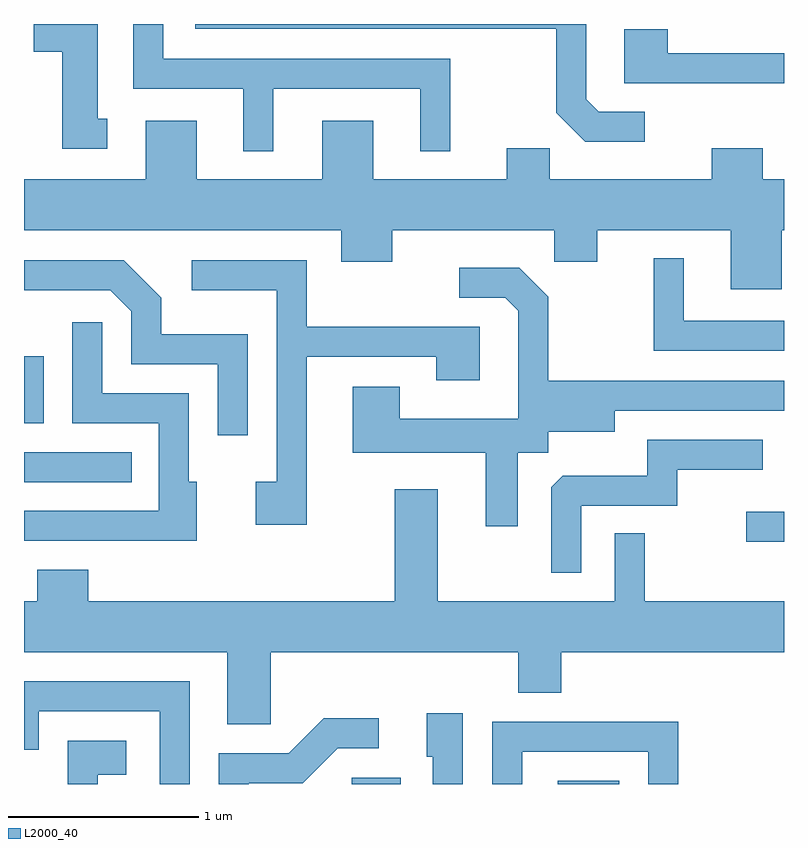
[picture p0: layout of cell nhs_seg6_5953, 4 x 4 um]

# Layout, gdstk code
import gdstk
lib = gdstk.Library(unit=1e-6, precision=1e-09)
def R(c, l, rs):  # rectangles x0, y0, x1, y1
    for r in rs: c.add(gdstk.rectangle(r[:2], r[2:], *l))
def P(c, l, *ps):  # polygons
    for p in ps: c.add(gdstk.Polygon(p, *l))
L2000_40 = (2000, 40)

nhs_seg6_5953 = lib.new_cell('nhs_seg6_5953')
R(nhs_seg6_5953, L2000_40, [(367.336,1618.162,367.594,1618.194), (368.421,1618.162,368.744,1618.179), (369.413,1619.436,369.611,1619.594), (365.611,1619.751,366.178,1619.909), (365.611,1620.061,365.714,1620.414)])
P(nhs_seg6_5953, L2000_40, [(366.048,1621.664),(365.999,1621.664),(365.999,1622.162),(365.661,1622.162),(365.661,1622.016),(365.811,1622.016),(365.811,1621.506),(366.048,1621.506)],
  [(366.924,1621.821),(367.696,1621.821),(367.696,1621.493),(367.854,1621.493),(367.854,1621.979),(366.344,1621.979),(366.344,1622.162),(366.186,1622.162),(366.186,1621.821),(366.766,1621.821),(366.766,1621.493),(366.924,1621.493)],
  [(368.878,1621.699),(368.637,1621.699),(368.569,1621.767),(368.569,1622.162),(366.511,1622.162),(366.511,1622.136),(368.411,1622.136),(368.411,1621.694),(368.564,1621.541),(368.878,1621.541)],
  [(369.611,1622.009),(368.999,1622.009),(368.999,1622.134),(368.771,1622.134),(368.771,1621.851),(369.611,1621.851)],
  [(367.181,1621.344),(366.519,1621.344),(366.519,1621.654),(366.251,1621.654),(366.251,1621.344),(365.611,1621.344),(365.611,1621.076),(367.281,1621.076),(367.281,1620.911),(367.549,1620.911),(367.549,1621.076),(368.401,1621.076),(368.401,1620.911),(368.629,1620.911),(368.629,1621.076),(369.331,1621.076),(369.331,1620.766),(369.599,1620.766),(369.599,1621.076),(369.611,1621.076),(369.611,1621.344),(369.499,1621.344),(369.499,1621.509),(369.231,1621.509),(369.231,1621.344),(368.379,1621.344),(368.379,1621.509),(368.151,1621.509),(368.151,1621.344),(367.449,1621.344),(367.449,1621.654),(367.181,1621.654)],
  [(369.611,1620.599),(369.084,1620.599),(369.084,1620.928),(368.926,1620.928),(368.926,1620.441),(369.611,1620.441)],
  [(367.099,1620.411),(367.781,1620.411),(367.781,1620.286),(368.009,1620.286),(368.009,1620.569),(367.099,1620.569),(367.099,1620.919),(366.493,1620.919),(366.493,1620.761),(366.941,1620.761),(366.941,1619.754),(366.831,1619.754),(366.831,1619.526),(367.099,1619.526)],
  [(366.789,1620.529),(366.334,1620.529),(366.334,1620.722),(366.137,1620.919),(365.611,1620.919),(365.611,1620.761),(366.064,1620.761),(366.176,1620.649),(366.176,1620.371),(366.631,1620.371),(366.631,1619.998),(366.789,1619.998)],
  [(368.209,1619.906),(368.369,1619.906),(368.369,1620.016),(368.719,1620.016),(368.719,1620.126),(369.611,1620.126),(369.611,1620.284),(368.369,1620.284),(368.369,1620.727),(368.217,1620.879),(367.903,1620.879),(367.903,1620.721),(368.144,1620.721),(368.211,1620.654),(368.211,1620.084),(367.589,1620.084),(367.589,1620.254),(367.341,1620.254),(367.341,1619.906),(368.041,1619.906),(368.041,1619.518),(368.209,1619.518)],
  [(366.519,1619.754),(366.479,1619.754),(366.479,1620.219),(366.024,1620.219),(366.024,1620.593),(365.866,1620.593),(365.866,1620.061),(366.321,1620.061),(366.321,1619.599),(365.611,1619.599),(365.611,1619.441),(366.519,1619.441)],
  [(368.544,1619.626),(369.049,1619.626),(369.049,1619.816),(369.498,1619.816),(369.498,1619.974),(368.891,1619.974),(368.891,1619.784),(368.447,1619.784),(368.386,1619.724),(368.386,1619.273),(368.544,1619.273)],
  [(366.909,1618.856),(368.211,1618.856),(368.211,1618.641),(368.439,1618.641),(368.439,1618.856),(369.611,1618.856),(369.611,1619.124),(368.879,1619.124),(368.879,1619.483),(368.721,1619.483),(368.721,1619.124),(367.789,1619.124),(367.789,1619.714),(367.561,1619.714),(367.561,1619.124),(365.949,1619.124),(365.949,1619.289),(365.681,1619.289),(365.681,1619.124),(365.611,1619.124),(365.611,1618.856),(366.681,1618.856),(366.681,1618.476),(366.909,1618.476)],
  [(366.484,1618.704),(365.611,1618.704),(365.611,1618.341),(365.689,1618.341),(365.689,1618.546),(366.326,1618.546),(366.326,1618.162),(366.484,1618.162)],
  [(367.919,1618.534),(367.731,1618.534),(367.731,1618.306),(367.761,1618.306),(367.761,1618.162),(367.919,1618.162)],
  [(366.794,1618.166),(367.077,1618.166),(367.262,1618.351),(367.478,1618.351),(367.478,1618.509),(367.189,1618.509),(367.004,1618.324),(366.636,1618.324),(366.636,1618.162),(366.794,1618.162)],
  [(368.234,1618.331),(368.896,1618.331),(368.896,1618.162),(369.054,1618.162),(369.054,1618.489),(368.076,1618.489),(368.076,1618.162),(368.234,1618.162)],
  [(365.999,1618.211),(366.149,1618.211),(366.149,1618.389),(365.841,1618.389),(365.841,1618.162),(365.999,1618.162)])

lib.write_gds('nhs_seg6_5953.gds')
